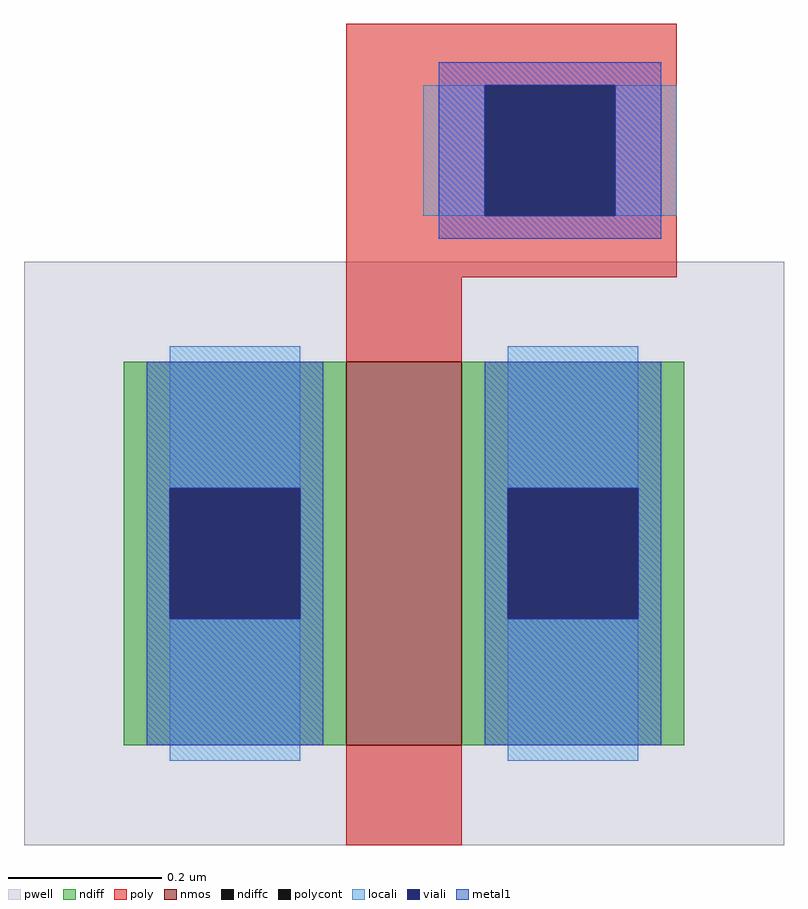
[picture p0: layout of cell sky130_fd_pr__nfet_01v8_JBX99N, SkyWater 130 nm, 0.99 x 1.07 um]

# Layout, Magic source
magic
tech sky130A
magscale 1 2
<< pwell >>
rect -99 -107 99 45
<< nmos >>
rect -15 -81 15 19
<< ndiff >>
rect -73 -14 -15 19
rect -73 -48 -61 -14
rect -27 -48 -15 -14
rect -73 -81 -15 -48
rect 15 -14 73 19
rect 15 -48 27 -14
rect 61 -48 73 -14
rect 15 -81 73 -48
<< ndiffc >>
rect -61 -48 -27 -14
rect 27 -48 61 -14
<< poly >>
rect -15 91 71 107
rect -15 57 21 91
rect 55 57 71 91
rect -15 41 71 57
rect -15 19 15 41
rect -15 -107 15 -81
<< polycont >>
rect 21 57 55 91
<< locali >>
rect 5 57 21 91
rect 55 57 71 91
rect -61 -14 -27 23
rect -61 -85 -27 -48
rect 27 -14 61 23
rect 27 -85 61 -48
<< viali >>
rect 21 57 55 91
rect -61 -48 -27 -14
rect 27 -48 61 -14
<< metal1 >>
rect 9 91 67 97
rect 9 57 21 91
rect 55 57 67 91
rect 9 51 67 57
rect -67 -14 -21 19
rect -67 -48 -61 -14
rect -27 -48 -21 -14
rect -67 -81 -21 -48
rect 21 -14 67 19
rect 21 -48 27 -14
rect 61 -48 67 -14
rect 21 -81 67 -48
<< end >>
